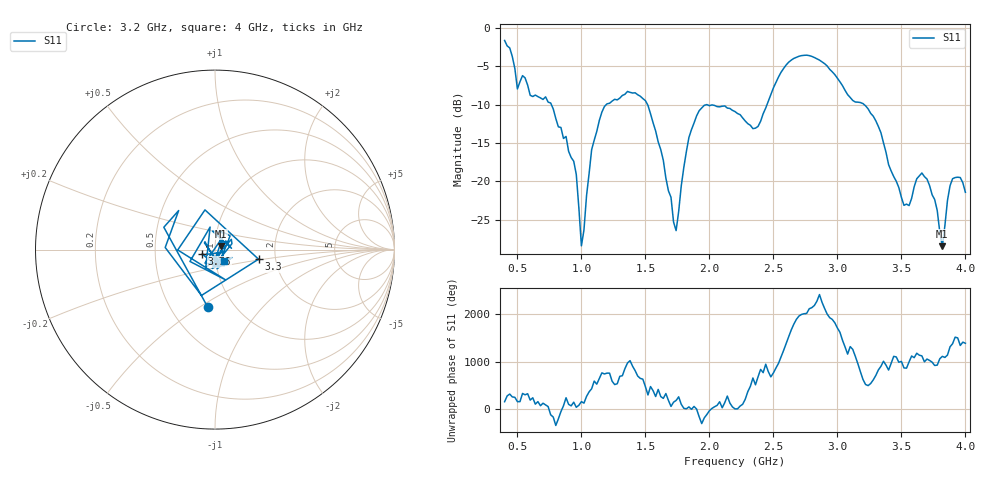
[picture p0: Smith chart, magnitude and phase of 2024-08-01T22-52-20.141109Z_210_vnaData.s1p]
!Created with skrf (http://scikit-rf.org).
# Hz S RI R 50.0
!freq ReS11 ImS11
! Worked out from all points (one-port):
!   181 points, 400 MHz to 4 GHz, reference 50 ohm
!   lowest |S11| = -28.5 dB at 3.82 GHz (marker M1), VSWR 1.08, Z = 53.3 + j2.1 ohm
!   |S11| at or under -10 dB: 1.517 GHz to 1.976 GHz (458.8 MHz wide, 26.3 % of centre); 1.982 GHz to 2.45 GHz (467.4 MHz wide, 21.1 % of centre); 3.21 GHz to end of sweep (the widest 3 of 4)
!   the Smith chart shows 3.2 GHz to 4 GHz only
!   S11 on the Smith chart (normalised r, x): 3.2 GHz: 0.76, -0.54; 3.3 GHz: 1.63, -0.19; 3.76 GHz: 0.86, -0.04; 4 GHz: 1.10, -0.15
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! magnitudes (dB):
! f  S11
! 400 MHz  -1.6
! 500 MHz  -7.9
! 720 MHz  -9.0
! 860 MHz  -14.4
! 960 MHz  -19.1
! 1 GHz  -28.4
! 1.08 GHz  -15.9
! 1.18 GHz  -10.2
! 1.3 GHz  -9.1
! 1.52 GHz  -10.1
! 1.64 GHz  -17.3
! 1.72 GHz  -25.3
! 1.76 GHz  -23.9
! 1.84 GHz  -14.3
! 1.92 GHz  -10.8
! 2.2 GHz  -10.9
! 2.38 GHz  -12.8
! 2.66 GHz  -3.9
! 2.9 GHz  -4.6
! 3.1 GHz  -9.0
! 3.2 GHz  -9.9
! 3.3 GHz  -12.1
! 3.56 GHz  -23.2
! 3.66 GHz  -18.9
! 3.76 GHz  -22.4
! 3.82 GHz  -28.5
! 3.9 GHz  -19.7
! 4 GHz  -21.4
